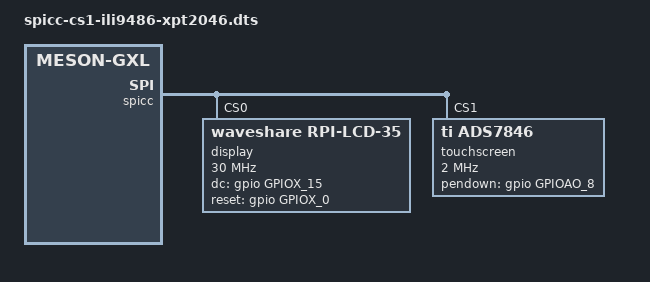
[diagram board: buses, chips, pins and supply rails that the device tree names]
/dts-v1/;
/plugin/;

#include <dt-bindings/gpio/gpio.h>
#include <dt-bindings/gpio/meson-gxl-gpio.h>

/ {
	compatible = "libretech,cc", "amlogic,s905x", "amlogic,meson-gxl";

	fragment@0 {
		target = <&spicc>;
		
		__overlay__ {
			display@0 {
				compatible = "waveshare,rpi-lcd-35", "ilitek,ili9486";
				reg = <0>;
				buswidth = <8>;
				spi-max-frequency = <30000000>;
				dc-gpios = <&gpio GPIOX_15 GPIO_ACTIVE_HIGH>;
				reset-gpios = <&gpio GPIOX_0 GPIO_ACTIVE_HIGH>;
				rotation = <0>;
				status = "okay";
			};
			touchscreen@1 {
				compatible = "ti,ads7846";
				reg = <1>;
				spi-max-frequency = <2000000>;

				pendown-gpio = <&gpio GPIOAO_8 GPIO_ACTIVE_HIGH>;
				
				ti,x-plate-ohms = /bits/ 16 <60>;
				ti,pressure-max = /bits/ 16 <255>;
				status = "okay";
			};
		};
	};
};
